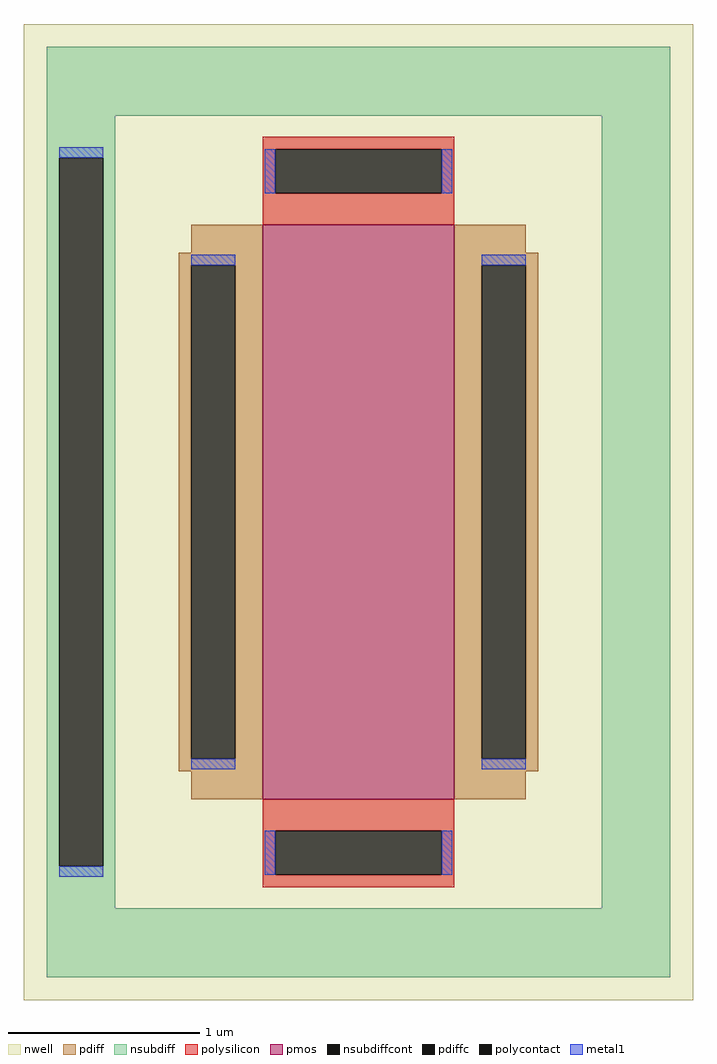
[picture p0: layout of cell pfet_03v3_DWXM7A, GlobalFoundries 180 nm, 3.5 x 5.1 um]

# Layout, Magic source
magic
tech gf180mcuD
magscale 1 10
<< nwell >>
rect -350 -510 350 510
<< pmos >>
rect -100 -300 100 300
<< pdiff >>
rect -175 271 -100 300
rect -188 258 -100 271
rect -188 -258 -175 258
rect -129 -258 -100 258
rect -188 -271 -100 -258
rect -175 -300 -100 -271
rect 100 271 175 300
rect 100 258 188 271
rect 100 -258 129 258
rect 175 -258 188 258
rect 100 -271 188 -258
rect 100 -300 175 -271
<< pdiffc >>
rect -175 -258 -129 258
rect 129 -258 175 258
<< nsubdiff >>
rect -326 414 326 486
rect -326 370 -254 414
rect -326 -370 -313 370
rect -267 -370 -254 370
rect -326 -414 -254 -370
rect 254 -414 326 414
rect -326 -486 326 -414
<< nsubdiffcont >>
rect -313 -370 -267 370
<< polysilicon >>
rect -100 379 100 392
rect -100 333 -87 379
rect 87 333 100 379
rect -100 300 100 333
rect -100 -333 100 -300
rect -100 -379 -87 -333
rect 87 -379 100 -333
rect -100 -392 100 -379
<< polycontact >>
rect -87 333 87 379
rect -87 -379 87 -333
<< metal1 >>
rect -313 370 -267 381
rect -98 333 -87 379
rect 87 333 98 379
rect -175 258 -129 269
rect -175 -269 -129 -258
rect 129 258 175 269
rect 129 -269 175 -258
rect -313 -381 -267 -370
rect -98 -379 -87 -333
rect 87 -379 98 -333
<< properties >>
string FIXED_BBOX -290 -450 290 450
string gencell pfet_03v3
string library gf180mcu
string parameters w 3 l 1 m 1 nf 1 diffcov 90 polycov 100 guard 1 glc 1 grc 0 gtc 0 gbc 0 tbcov 100 rlcov 100 topc 1 botc 1 poverlap 0 doverlap 0 lmin 0.28 wmin 0.22 class mosfet full_metal 0 compatible {pfet_03v3 pfet_05v0 pfet_06v0}
<< end >>
